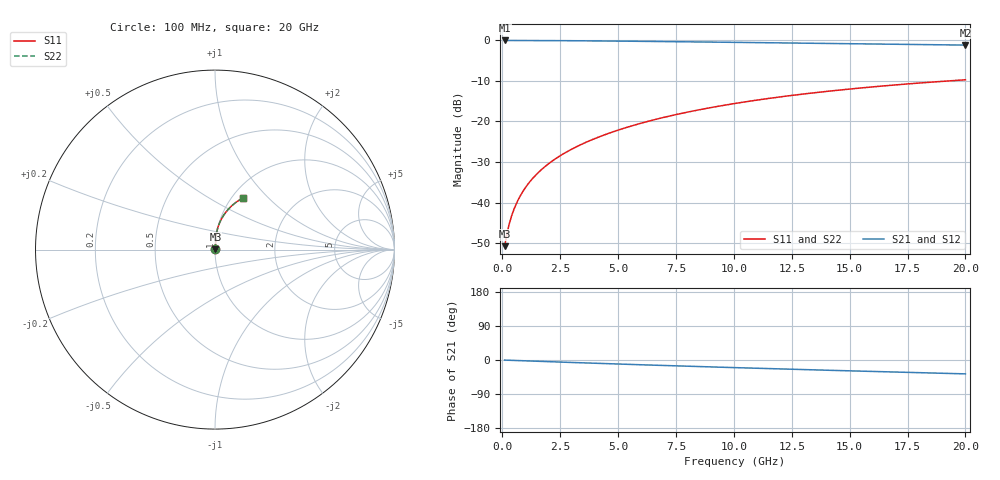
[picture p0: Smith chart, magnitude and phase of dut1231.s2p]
! Touchstone file exported from HFSS 2024.1.0
!  File:  C:/UserFiles/LocalFiles/RDL_TSV_Batchsim/temp_RDL_bottom_1231_1780244544.aedt
!  Generated:  12:25:23 AM Jun  1, 2026
!  Design:  RDL_bottom
!  Project:  temp_RDL_bottom_1231_1780244544
!  Setup:  Setup1
!  Solution:  Sweep
! Variables:
!  dtsv = 10.80580581um
!  hbump = 3um
!  htsv = 99.9um
!  ldown = 511.97um
!  lrdl = 100um
!  p = 40
!  p1 = 51.07um
!  rhole = 1um
!  t = 450um
!  tdown = 3.5um
!  trdl = 3.915915916um
!  wdown = 24.11um
!  wrdl = 20um
# GHz S MA R 50.000000
! Terminal data exported
! Port[1] = RDL1_T1
! Port[2] = RDL1_T2
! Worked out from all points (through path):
!   200 points, 100 MHz to 20 GHz, reference 50 ohm
!   highest |S21| = -0.02 dB at 100 MHz (marker M1); lowest = -1.2 dB at 20 GHz (marker M2)
!   group delay of S21, straight-line fit = 5.04 ps
!   lowest |S11| = -50.7 dB at 100 MHz (marker M3), VSWR 1.01, Z = 50.2 + j0.168 ohm
!   |S11| at or under -10 dB: start of sweep to 19.26 GHz
!   |S22| runs from -50.7 to -9.7 dB; largest |S21 - S12| = 3.1e-15
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0.1  0.002901 35.1  0.9976 -0.2  0.9976 -0.2  0.002901 35.1
! Gamma 0 0 0 0
! Port Impedance 50 0 50 0
0.2  0.00411 52.5  0.9975 -0.5  0.9975 -0.5  0.00411 52.5
0.3  0.005455 61.2  0.9973 -0.7  0.9973 -0.7  0.005455 61.2
0.4  0.006826 66.4  0.9971 -0.9  0.9971 -0.9  0.006826 66.4
0.5  0.008208 70.0  0.997 -1.1  0.997 -1.1  0.008208 70.0
0.6  0.009604 72.7  0.9968 -1.3  0.9968 -1.3  0.009604 72.7
0.8  0.01244 76.4  0.9965 -1.8  0.9965 -1.8  0.01244 76.4
1.1  0.01676 79.7  0.996 -2.4  0.996 -2.4  0.01676 79.7
1.3  0.01969 81.2  0.9956 -2.9  0.9956 -2.9  0.01969 81.2
1.6  0.02414 82.7  0.9949 -3.5  0.9949 -3.5  0.02414 82.7
2.1  0.03166 84.2  0.9935 -4.6  0.9935 -4.6  0.03167 84.2
2.7  0.04089 85.2  0.9913 -5.9  0.9913 -5.9  0.04089 85.2
3.5  0.05353 85.7  0.9878 -7.6  0.9878 -7.6  0.05353 85.7
4.2  0.0649 85.7  0.9841 -9.0  0.9841 -9.0  0.0649 85.7
5  0.07823 85.4  0.9796 -10.6  0.9796 -10.6  0.07823 85.4
6.8  0.1093 83.6  0.9681 -14.2  0.9681 -14.2  0.1093 83.6
8.4  0.1376 81.5  0.9571 -17.2  0.9571 -17.2  0.1376 81.5
10.1  0.1677 78.7  0.9451 -20.2  0.9451 -20.2  0.1677 78.7
11.7  0.1958 76.0  0.9338 -23.0  0.9338 -23.0  0.1958 76.0
13.4  0.2248 73.0  0.9216 -25.9  0.9216 -25.9  0.2248 73.0
16.7  0.2781 67.2  0.8981 -31.4  0.8981 -31.4  0.2781 67.2
20  0.3266 61.6  0.8745 -36.6  0.8745 -36.6  0.3266 61.6
